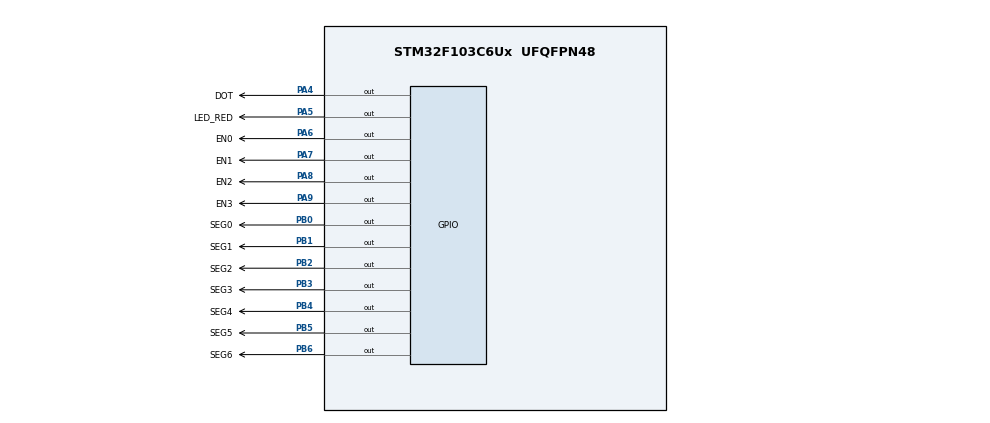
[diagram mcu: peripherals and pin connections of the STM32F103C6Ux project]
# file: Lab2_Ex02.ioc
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Mcu.Family=STM32F1
Mcu.Name=STM32F103C6Ux
Mcu.Package=UFQFPN48
NVIC.PriorityGroup=NVIC_PRIORITYGROUP_4
NVIC.TIM2_IRQn=true\:0\:0\:false\:false\:true\:true\:true
PA4.GPIO_Label=DOT
PA4.Signal=GPIO_Output
PA5.GPIO_Label=LED_RED
PA5.Signal=GPIO_Output
PA6.GPIO_Label=EN0
PA6.Signal=GPIO_Output
PA7.GPIO_Label=EN1
PA7.Signal=GPIO_Output
PA8.GPIO_Label=EN2
PA8.Signal=GPIO_Output
PA9.GPIO_Label=EN3
PA9.Signal=GPIO_Output
PB0.GPIO_Label=SEG0
PB0.Signal=GPIO_Output
PB1.GPIO_Label=SEG1
PB1.Signal=GPIO_Output
PB2.GPIO_Label=SEG2
PB2.Signal=GPIO_Output
PB3.GPIO_Label=SEG3
PB3.Signal=GPIO_Output
PB4.GPIO_Label=SEG4
PB4.Signal=GPIO_Output
PB5.GPIO_Label=SEG5
PB5.Signal=GPIO_Output
PB6.GPIO_Label=SEG6
PB6.Signal=GPIO_Output
ProjectManager.HeapSize=0x200
ProjectManager.StackSize=0x400
ProjectManager.TargetToolchain=STM32CubeIDE
RCC.APB1Freq_Value=8000000
RCC.APB2Freq_Value=8000000
TIM2.Period=9
TIM2.Prescaler=7999
VP_SYS_VS_ND.Mode=No_Debug
VP_TIM2_VS_ClockSourceINT.Mode=Internal
board=custom

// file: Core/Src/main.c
/* USER CODE BEGIN Header */
/**
  ******************************************************************************
  * @file           : main.c
  * @brief          : Main program body
  ******************************************************************************
  * @attention
  *
  * <h2><center>&copy; Copyright (c) 2022 STMicroelectronics.
  * All rights reserved.</center></h2>
  *
  * This software component is licensed by ST under BSD 3-Clause license,
  * the "License"; You may not use this file except in compliance with the
  * License. You may obtain a copy of the License at:
  *                        opensource.org/licenses/BSD-3-Clause
  *
  ******************************************************************************
  */
/* USER CODE END Header */
#include "main.h"

TIM_HandleTypeDef htim2;

void SystemClock_Config(void);
static void MX_GPIO_Init(void);
static void MX_TIM2_Init(void);

/* USER CODE BEGIN 0 */
int counter = 50;
int number = 1;
void display7SEG(int num){
	if( num == 0){
		HAL_GPIO_WritePin(SEG0_GPIO_Port, SEG0_Pin, GPIO_PIN_RESET);
		HAL_GPIO_WritePin(SEG1_GPIO_Port, SEG1_Pin, GPIO_PIN_RESET);
		HAL_GPIO_WritePin(SEG2_GPIO_Port, SEG2_Pin, GPIO_PIN_RESET);
		HAL_GPIO_WritePin(SEG3_GPIO_Port, SEG3_Pin, GPIO_PIN_RESET);
		HAL_GPIO_WritePin(SEG4_GPIO_Port, SEG4_Pin, GPIO_PIN_RESET);
		HAL_GPIO_WritePin(SEG5_GPIO_Port, SEG5_Pin, GPIO_PIN_RESET);
		HAL_GPIO_WritePin(SEG6_GPIO_Port, SEG6_Pin, GPIO_PIN_SET);
	}

	if(num == 1){
		HAL_GPIO_WritePin(SEG0_GPIO_Port, SEG0_Pin, GPIO_PIN_SET);
		HAL_GPIO_WritePin(SEG1_GPIO_Port, SEG1_Pin, GPIO_PIN_RESET);
		HAL_GPIO_WritePin(SEG2_GPIO_Port, SEG2_Pin, GPIO_PIN_RESET);
		HAL_GPIO_WritePin(SEG3_GPIO_Port, SEG3_Pin, GPIO_PIN_SET );
		HAL_GPIO_WritePin(SEG4_GPIO_Port, SEG4_Pin, GPIO_PIN_SET);
		HAL_GPIO_WritePin(SEG5_GPIO_Port, SEG5_Pin, GPIO_PIN_SET);
		HAL_GPIO_WritePin(SEG6_GPIO_Port, SEG6_Pin, GPIO_PIN_SET);
	}

	if(num == 2){
		HAL_GPIO_WritePin(SEG0_GPIO_Port, SEG0_Pin, GPIO_PIN_RESET);
		HAL_GPIO_WritePin(SEG1_GPIO_Port, SEG1_Pin, GPIO_PIN_RESET);
		HAL_GPIO_WritePin(SEG2_GPIO_Port, SEG2_Pin, GPIO_PIN_SET);
		HAL_GPIO_WritePin(SEG3_GPIO_Port, SEG3_Pin, GPIO_PIN_RESET);
		HAL_GPIO_WritePin(SEG4_GPIO_Port, SEG4_Pin, GPIO_PIN_RESET);
		HAL_GPIO_WritePin(SEG5_GPIO_Port, SEG5_Pin, GPIO_PIN_SET);
		HAL_GPIO_WritePin(SEG6_GPIO_Port, SEG6_Pin, GPIO_PIN_RESET);
	}

	if(num == 3){
		HAL_GPIO_WritePin(SEG0_GPIO_Port, SEG0_Pin, GPIO_PIN_RESET);
		HAL_GPIO_WritePin(SEG1_GPIO_Port, SEG1_Pin, GPIO_PIN_RESET);
		HAL_GPIO_WritePin(SEG2_GPIO_Port, SEG2_Pin, GPIO_PIN_RESET);
		HAL_GPIO_WritePin(SEG3_GPIO_Port, SEG3_Pin, GPIO_PIN_RESET);
		HAL_GPIO_WritePin(SEG4_GPIO_Port, SEG4_Pin, GPIO_PIN_SET);
		HAL_GPIO_WritePin(SEG5_GPIO_Port, SEG5_Pin, GPIO_PIN_SET);
		HAL_GPIO_WritePin(SEG6_GPIO_Port, SEG6_Pin, GPIO_PIN_RESET);
	}

	if(num == 4){
		HAL_GPIO_WritePin(SEG0_GPIO_Port, SEG0_Pin, GPIO_PIN_SET);
		HAL_GPIO_WritePin(SEG1_GPIO_Port, SEG1_Pin, GPIO_PIN_RESET);
		HAL_GPIO_WritePin(SEG2_GPIO_Port, SEG2_Pin, GPIO_PIN_RESET);
		HAL_GPIO_WritePin(SEG3_GPIO_Port, SEG3_Pin, GPIO_PIN_SET);
		HAL_GPIO_WritePin(SEG4_GPIO_Port, SEG4_Pin, GPIO_PIN_SET);
		HAL_GPIO_WritePin(SEG5_GPIO_Port, SEG5_Pin, GPIO_PIN_RESET);
		HAL_GPIO_WritePin(SEG6_GPIO_Port, SEG6_Pin, GPIO_PIN_RESET);
	}

	if(num == 5){
		HAL_GPIO_WritePin(SEG0_GPIO_Port, SEG0_Pin, GPIO_PIN_RESET);
		HAL_GPIO_WritePin(SEG1_GPIO_Port, SEG1_Pin, GPIO_PIN_SET);
		HAL_GPIO_WritePin(SEG2_GPIO_Port, SEG2_Pin, GPIO_PIN_RESET);
		HAL_GPIO_WritePin(SEG3_GPIO_Port, SEG3_Pin, GPIO_PIN_RESET);
		HAL_GPIO_WritePin(SEG4_GPIO_Port, SEG4_Pin, GPIO_PIN_SET);
		HAL_GPIO_WritePin(SEG5_GPIO_Port, SEG5_Pin, GPIO_PIN_RESET);
		HAL_GPIO_WritePin(SEG6_GPIO_Port, SEG6_Pin, GPIO_PIN_RESET);
	}

	if(num == 6){
		HAL_GPIO_WritePin(SEG0_GPIO_Port, SEG0_Pin, GPIO_PIN_RESET);
		HAL_GPIO_WritePin(SEG1_GPIO_Port, SEG1_Pin, GPIO_PIN_SET);
		HAL_GPIO_WritePin(SEG2_GPIO_Port, SEG2_Pin, GPIO_PIN_RESET);
		HAL_GPIO_WritePin(SEG3_GPIO_Port, SEG3_Pin, GPIO_PIN_RESET);
		HAL_GPIO_WritePin(SEG4_GPIO_Port, SEG4_Pin, GPIO_PIN_RESET);
		HAL_GPIO_WritePin(SEG5_GPIO_Port, SEG5_Pin, GPIO_PIN_RESET);
		HAL_GPIO_WritePin(SEG6_GPIO_Port, SEG6_Pin, GPIO_PIN_RESET);
	}

	if(num == 7){
		HAL_GPIO_WritePin(SEG0_GPIO_Port, SEG0_Pin, GPIO_PIN_RESET);
		HAL_GPIO_WritePin(SEG1_GPIO_Port, SEG1_Pin, GPIO_PIN_RESET);
		HAL_GPIO_WritePin(SEG2_GPIO_Port, SEG2_Pin, GPIO_PIN_RESET);
		HAL_GPIO_WritePin(SEG3_GPIO_Port, SEG3_Pin, GPIO_PIN_SET);
		HAL_GPIO_WritePin(SEG4_GPIO_Port, SEG4_Pin, GPIO_PIN_SET);
		HAL_GPIO_WritePin(SEG5_GPIO_Port, SEG5_Pin, GPIO_PIN_SET);
		HAL_GPIO_WritePin(SEG6_GPIO_Port, SEG6_Pin, GPIO_PIN_SET);
	}

	if(num == 8){
		HAL_GPIO_WritePin(SEG0_GPIO_Port, SEG0_Pin, GPIO_PIN_RESET);
		HAL_GPIO_WritePin(SEG1_GPIO_Port, SEG1_Pin, GPIO_PIN_RESET);
		HAL_GPIO_WritePin(SEG2_GPIO_Port, SEG2_Pin, GPIO_PIN_RESET);
		HAL_GPIO_WritePin(SEG3_GPIO_Port, SEG3_Pin, GPIO_PIN_RESET);
		HAL_GPIO_WritePin(SEG4_GPIO_Port, SEG4_Pin, GPIO_PIN_RESET);
		HAL_GPIO_WritePin(SEG5_GPIO_Port, SEG5_Pin, GPIO_PIN_RESET);
		HAL_GPIO_WritePin(SEG6_GPIO_Port, SEG6_Pin, GPIO_PIN_RESET);
	}

	if(num == 9){
		HAL_GPIO_WritePin(SEG0_GPIO_Port, SEG0_Pin, GPIO_PIN_RESET);
		HAL_GPIO_WritePin(SEG1_GPIO_Port, SEG1_Pin, GPIO_PIN_RESET);
		HAL_GPIO_WritePin(SEG2_GPIO_Port, SEG2_Pin, GPIO_PIN_RESET);
		HAL_GPIO_WritePin(SEG3_GPIO_Port, SEG3_Pin, GPIO_PIN_RESET);
		HAL_GPIO_WritePin(SEG4_GPIO_Port, SEG4_Pin, GPIO_PIN_SET);
		HAL_GPIO_WritePin(SEG5_GPIO_Port, SEG5_Pin, GPIO_PIN_RESET);
		HAL_GPIO_WritePin(SEG6_GPIO_Port, SEG6_Pin, GPIO_PIN_RESET);
	}
}
/* USER CODE END 0 */

int main(void)
{

  /* MCU Configuration--------------------------------------------------------*/

  /* Reset of all peripherals, Initializes the Flash interface and the Systick. */
  HAL_Init();

  /* Configure the system clock */
  SystemClock_Config();

  /* Initialize all configured peripherals */
  MX_GPIO_Init();
  MX_TIM2_Init();
  /* USER CODE BEGIN 2 */
  HAL_TIM_Base_Start_IT (& htim2 );
  /* USER CODE END 2 */

  /* Infinite loop */
  while (1)
  {

  }
}

void SystemClock_Config(void)
{
  RCC_OscInitTypeDef RCC_OscInitStruct = {0};
  RCC_ClkInitTypeDef RCC_ClkInitStruct = {0};

  /** Initializes the RCC Oscillators according to the specified parameters
  * in the RCC_OscInitTypeDef structure.
  */
  RCC_OscInitStruct.OscillatorType = RCC_OSCILLATORTYPE_HSI;
  RCC_OscInitStruct.HSIState = RCC_HSI_ON;
  RCC_OscInitStruct.HSICalibrationValue = RCC_HSICALIBRATION_DEFAULT;
  RCC_OscInitStruct.PLL.PLLState = RCC_PLL_NONE;
  if (HAL_RCC_OscConfig(&RCC_OscInitStruct) != HAL_OK)
  {
    Error_Handler();
  }
  /** Initializes the CPU, AHB and APB buses clocks
  */
  RCC_ClkInitStruct.ClockType = RCC_CLOCKTYPE_HCLK|RCC_CLOCKTYPE_SYSCLK
                              |RCC_CLOCKTYPE_PCLK1|RCC_CLOCKTYPE_PCLK2;
  RCC_ClkInitStruct.SYSCLKSource = RCC_SYSCLKSOURCE_HSI;
  RCC_ClkInitStruct.AHBCLKDivider = RCC_SYSCLK_DIV1;
  RCC_ClkInitStruct.APB1CLKDivider = RCC_HCLK_DIV1;
  RCC_ClkInitStruct.APB2CLKDivider = RCC_HCLK_DIV1;

  if (HAL_RCC_ClockConfig(&RCC_ClkInitStruct, FLASH_LATENCY_0) != HAL_OK)
  {
    Error_Handler();
  }
}

static void MX_TIM2_Init(void)
{

  TIM_ClockConfigTypeDef sClockSourceConfig = {0};
  TIM_MasterConfigTypeDef sMasterConfig = {0};

  htim2.Instance = TIM2;
  htim2.Init.Prescaler = 7999;
  htim2.Init.CounterMode = TIM_COUNTERMODE_UP;
  htim2.Init.Period = 9;
  htim2.Init.ClockDivision = TIM_CLOCKDIVISION_DIV1;
  htim2.Init.AutoReloadPreload = TIM_AUTORELOAD_PRELOAD_DISABLE;
  if (HAL_TIM_Base_Init(&htim2) != HAL_OK)
  {
    Error_Handler();
  }
  sClockSourceConfig.ClockSource = TIM_CLOCKSOURCE_INTERNAL;
  if (HAL_TIM_ConfigClockSource(&htim2, &sClockSourceConfig) != HAL_OK)
  {
    Error_Handler();
  }
  sMasterConfig.MasterOutputTrigger = TIM_TRGO_RESET;
  sMasterConfig.MasterSlaveMode = TIM_MASTERSLAVEMODE_DISABLE;
  if (HAL_TIMEx_MasterConfigSynchronization(&htim2, &sMasterConfig) != HAL_OK)
  {
    Error_Handler();
  }

}

static void MX_GPIO_Init(void)
{
  GPIO_InitTypeDef GPIO_InitStruct = {0};

  /* GPIO Ports Clock Enable */
  __HAL_RCC_GPIOA_CLK_ENABLE();
  __HAL_RCC_GPIOB_CLK_ENABLE();

  /*Configure GPIO pin Output Level */
  HAL_GPIO_WritePin(GPIOA, DOT_Pin|LED_RED_Pin|EN0_Pin|EN1_Pin
                          |EN2_Pin|EN3_Pin, GPIO_PIN_RESET);

  /*Configure GPIO pin Output Level */
  HAL_GPIO_WritePin(GPIOB, SEG0_Pin|SEG1_Pin|SEG2_Pin|SEG3_Pin
                          |SEG4_Pin|SEG5_Pin|SEG6_Pin, GPIO_PIN_RESET);

  /*Configure GPIO pins : DOT_Pin LED_RED_Pin EN0_Pin EN1_Pin
                           EN2_Pin EN3_Pin */
  GPIO_InitStruct.Pin = DOT_Pin|LED_RED_Pin|EN0_Pin|EN1_Pin
                          |EN2_Pin|EN3_Pin;
  GPIO_InitStruct.Mode = GPIO_MODE_OUTPUT_PP;
  GPIO_InitStruct.Pull = GPIO_NOPULL;
  GPIO_InitStruct.Speed = GPIO_SPEED_FREQ_LOW;
  HAL_GPIO_Init(GPIOA, &GPIO_InitStruct);

  /*Configure GPIO pins : SEG0_Pin SEG1_Pin SEG2_Pin SEG3_Pin
                           SEG4_Pin SEG5_Pin SEG6_Pin */
  GPIO_InitStruct.Pin = SEG0_Pin|SEG1_Pin|SEG2_Pin|SEG3_Pin
                          |SEG4_Pin|SEG5_Pin|SEG6_Pin;
  GPIO_InitStruct.Mode = GPIO_MODE_OUTPUT_PP;
  GPIO_InitStruct.Pull = GPIO_NOPULL;
  GPIO_InitStruct.Speed = GPIO_SPEED_FREQ_LOW;
  HAL_GPIO_Init(GPIOB, &GPIO_InitStruct);

}

/* USER CODE BEGIN 4 */
void HAL_TIM_PeriodElapsedCallback ( TIM_HandleTypeDef * htim )
{
	// call every 10ms
	counter--;
	if(counter <= 0){
		counter = 50;
		HAL_GPIO_TogglePin(LED_RED_GPIO_Port, LED_RED_Pin);
		HAL_GPIO_TogglePin(DOT_GPIO_Port, DOT_Pin);
		switch(number){
		case 1:
			HAL_GPIO_WritePin(EN0_GPIO_Port, EN0_Pin, GPIO_PIN_RESET);
			HAL_GPIO_WritePin(EN1_GPIO_Port, EN1_Pin, GPIO_PIN_SET);
			HAL_GPIO_WritePin(EN2_GPIO_Port, EN2_Pin, GPIO_PIN_SET);
			HAL_GPIO_WritePin(EN3_GPIO_Port, EN3_Pin, GPIO_PIN_SET);
			display7SEG(1);
			number = 2;
			break;
		case 2:
			HAL_GPIO_WritePin(EN0_GPIO_Port, EN0_Pin, GPIO_PIN_SET);
			HAL_GPIO_WritePin(EN1_GPIO_Port, EN1_Pin, GPIO_PIN_RESET);
			HAL_GPIO_WritePin(EN2_GPIO_Port, EN2_Pin, GPIO_PIN_SET);
			HAL_GPIO_WritePin(EN3_GPIO_Port, EN3_Pin, GPIO_PIN_SET);
			display7SEG(2);
			number = 3;
			break;
		case 3:
			HAL_GPIO_WritePin(EN0_GPIO_Port, EN0_Pin, GPIO_PIN_SET);
			HAL_GPIO_WritePin(EN1_GPIO_Port, EN1_Pin, GPIO_PIN_SET);
			HAL_GPIO_WritePin(EN2_GPIO_Port, EN2_Pin, GPIO_PIN_RESET);
			HAL_GPIO_WritePin(EN3_GPIO_Port, EN3_Pin, GPIO_PIN_SET);
			display7SEG(3);
			number = 4;
			break;
		case 4:
			HAL_GPIO_WritePin(EN0_GPIO_Port, EN0_Pin, GPIO_PIN_SET);
			HAL_GPIO_WritePin(EN1_GPIO_Port, EN1_Pin, GPIO_PIN_SET);
			HAL_GPIO_WritePin(EN2_GPIO_Port, EN2_Pin, GPIO_PIN_SET);
			HAL_GPIO_WritePin(EN3_GPIO_Port, EN3_Pin, GPIO_PIN_RESET);
			display7SEG(0);
			number = 1;
			break;
		default:
			break;
		}

	}
}
/* USER CODE END 4 */

void Error_Handler(void)
{
  __disable_irq();
  while (1)
  {
  }
}

/************************ (C) COPYRIGHT STMicroelectronics *****END OF FILE****/
